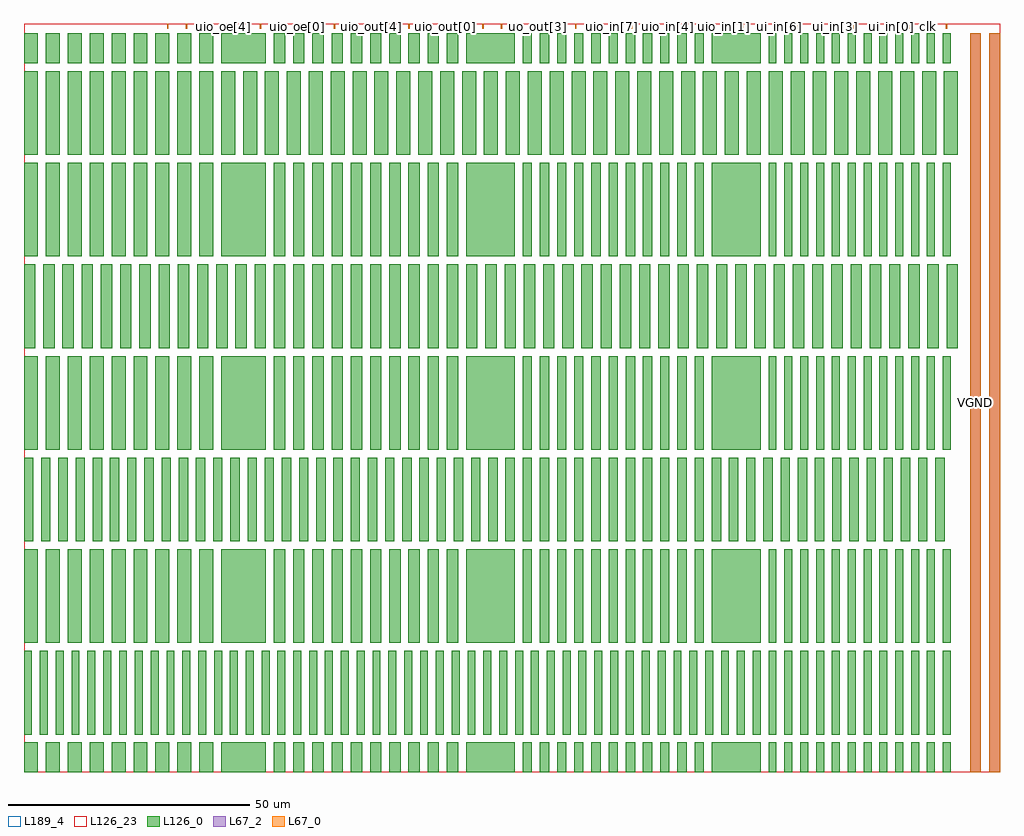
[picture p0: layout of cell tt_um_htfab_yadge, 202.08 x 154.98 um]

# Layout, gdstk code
import gdstk
lib = gdstk.Library(unit=1e-6, precision=1e-09)
def R(c, l, rs):  # rectangles x0, y0, x1, y1
    for r in rs: c.add(gdstk.rectangle(r[:2], r[2:], *l))
def A(c, l, x, y, w, h, nx, ny, dx, dy):  # array of equal rectangles
    R(c, l, [(x+i*dx, y+j*dy, x+i*dx+w, y+j*dy+h) for i in range(nx) for j in range(ny)])
L67_0 = (67, 0)
L67_2 = (67, 2)
L126_0 = (126, 0)
L126_23 = (126, 23)
L189_4 = (189, 4)

pattern_r0 = lib.new_cell('pattern_R0')
R(pattern_r0, L126_0, [(0,0,2.895,17.36)])

pattern_r1 = lib.new_cell('pattern_R1')
R(pattern_r1, L126_0, [(0,0,2.895,6.17)])

pattern_r2 = lib.new_cell('pattern_R2')
R(pattern_r2, L126_0, [(0,0,2.895,19.36)])

pattern_r3 = lib.new_cell('pattern_R3')
R(pattern_r3, L126_0, [(0,0,2.895,19.36)])

pattern_r4 = lib.new_cell('pattern_R4')
R(pattern_r4, L126_0, [(0,0,2.895,19.36)])

pattern_r5 = lib.new_cell('pattern_R5')
R(pattern_r5, L126_0, [(0,0,2.895,6.17)])

pattern_y0 = lib.new_cell('pattern_Y0')
R(pattern_y0, L126_0, [(0,0,2.34,17.36)])

pattern_y1 = lib.new_cell('pattern_Y1')
R(pattern_y1, L126_0, [(0,0,2.34,6.17)])

pattern_y2 = lib.new_cell('pattern_Y2')
R(pattern_y2, L126_0, [(0,0,2.34,19.36)])

pattern_y3 = lib.new_cell('pattern_Y3')
R(pattern_y3, L126_0, [(0,0,2.34,19.36)])

pattern_y4 = lib.new_cell('pattern_Y4')
R(pattern_y4, L126_0, [(0,0,2.34,19.36)])

pattern_y5 = lib.new_cell('pattern_Y5')
R(pattern_y5, L126_0, [(0,0,2.34,6.17)])

pattern_g0 = lib.new_cell('pattern_G0')
R(pattern_g0, L126_0, [(0,0,1.92,17.36)])

pattern_g1 = lib.new_cell('pattern_G1')
R(pattern_g1, L126_0, [(0,0,1.92,6.17)])

pattern_g2 = lib.new_cell('pattern_G2')
R(pattern_g2, L126_0, [(0,0,1.92,19.36)])

pattern_g3 = lib.new_cell('pattern_G3')
R(pattern_g3, L126_0, [(0,0,1.92,19.36)])

pattern_g4 = lib.new_cell('pattern_G4')
R(pattern_g4, L126_0, [(0,0,1.92,19.36)])

pattern_g5 = lib.new_cell('pattern_G5')
R(pattern_g5, L126_0, [(0,0,1.92,6.17)])

pattern_b0 = lib.new_cell('pattern_B0')
R(pattern_b0, L126_0, [(0,0,1.64,17.36)])

pattern_b1 = lib.new_cell('pattern_B1')
R(pattern_b1, L126_0, [(0,0,1.64,6.17)])

pattern_b2 = lib.new_cell('pattern_B2')
R(pattern_b2, L126_0, [(0,0,1.64,19.36)])

pattern_b3 = lib.new_cell('pattern_B3')
R(pattern_b3, L126_0, [(0,0,1.64,19.36)])

pattern_b4 = lib.new_cell('pattern_B4')
R(pattern_b4, L126_0, [(0,0,1.64,19.36)])

pattern_b5 = lib.new_cell('pattern_B5')
R(pattern_b5, L126_0, [(0,0,1.64,6.17)])

pattern_i0 = lib.new_cell('pattern_I0')
R(pattern_i0, L126_0, [(0,0,9.285,6.17)])

pattern_i1 = lib.new_cell('pattern_I1')
R(pattern_i1, L126_0, [(0,0,10.06,6.17)])

pattern_i2 = lib.new_cell('pattern_I2')
R(pattern_i2, L126_0, [(0,0,10.12,6.17)])

pattern_i3 = lib.new_cell('pattern_I3')
R(pattern_i3, L126_0, [(0,0,9.285,19.36)])

pattern_i4 = lib.new_cell('pattern_I4')
R(pattern_i4, L126_0, [(0,0,10.06,19.36)])

pattern_i5 = lib.new_cell('pattern_I5')
R(pattern_i5, L126_0, [(0,0,10.12,19.36)])

pattern_i6 = lib.new_cell('pattern_I6')
R(pattern_i6, L126_0, [(0,0,9.285,19.36)])

pattern_i7 = lib.new_cell('pattern_I7')
R(pattern_i7, L126_0, [(0,0,10.06,19.36)])

pattern_i8 = lib.new_cell('pattern_I8')
R(pattern_i8, L126_0, [(0,0,10.12,19.36)])

pattern_i9 = lib.new_cell('pattern_I9')
R(pattern_i9, L126_0, [(0,0,9.285,19.36)])

pattern_i10 = lib.new_cell('pattern_I10')
R(pattern_i10, L126_0, [(0,0,10.06,19.36)])

pattern_i11 = lib.new_cell('pattern_I11')
R(pattern_i11, L126_0, [(0,0,10.12,19.36)])

pattern_i12 = lib.new_cell('pattern_I12')
R(pattern_i12, L126_0, [(0,0,9.285,6.17)])

pattern_i13 = lib.new_cell('pattern_I13')
R(pattern_i13, L126_0, [(0,0,10.06,6.17)])

pattern_i14 = lib.new_cell('pattern_I14')
R(pattern_i14, L126_0, [(0,0,10.12,6.17)])

tt_um_htfab_yadge = lib.new_cell('tt_um_htfab_yadge')
A(tt_um_htfab_yadge, L67_0, 29.61, 153.98, 0.3, 1, 43, 1, 3.84, 0)
R(tt_um_htfab_yadge, L67_0, [(195.88,0,198.08,152.98), (199.88,0,202.08,152.98)])
A(tt_um_htfab_yadge, L67_2, 29.61, 153.98, 0.3, 1, 43, 1, 3.84, 0)
R(tt_um_htfab_yadge, L67_2, [(195.88,0,198.08,152.98), (199.88,0,202.08,152.98)])
R(tt_um_htfab_yadge, L126_23, [(0,0,202.08,154.98)])
R(tt_um_htfab_yadge, L189_4, [(0,0,202.08,154.98)])
r = gdstk.Reference(pattern_r0, (0,127.81)); r.repetition = gdstk.Repetition(43, 1, v1=(4.535,0), v2=(0,4.535)); tt_um_htfab_yadge.add(r)
r = gdstk.Reference(pattern_r1, (0,0)); r.repetition = gdstk.Repetition(9, 1, v1=(4.535,0), v2=(0,4.535)); tt_um_htfab_yadge.add(r)
r = gdstk.Reference(pattern_r2, (0,26.81)); r.repetition = gdstk.Repetition(9, 1, v1=(4.535,0), v2=(0,4.535)); tt_um_htfab_yadge.add(r)
r = gdstk.Reference(pattern_r3, (0,66.81)); r.repetition = gdstk.Repetition(9, 1, v1=(4.535,0), v2=(0,4.535)); tt_um_htfab_yadge.add(r)
r = gdstk.Reference(pattern_r4, (0,106.81)); r.repetition = gdstk.Repetition(9, 1, v1=(4.535,0), v2=(0,4.535)); tt_um_htfab_yadge.add(r)
r = gdstk.Reference(pattern_r5, (0,146.81)); r.repetition = gdstk.Repetition(9, 1, v1=(4.535,0), v2=(0,4.535)); tt_um_htfab_yadge.add(r)
r = gdstk.Reference(pattern_y0, (0,87.81)); r.repetition = gdstk.Repetition(49, 1, v1=(3.98,0), v2=(0,3.98)); tt_um_htfab_yadge.add(r)
r = gdstk.Reference(pattern_y1, (51.74,0)); r.repetition = gdstk.Repetition(10, 1, v1=(3.98,0), v2=(0,3.98)); tt_um_htfab_yadge.add(r)
r = gdstk.Reference(pattern_y2, (51.74,26.81)); r.repetition = gdstk.Repetition(10, 1, v1=(3.98,0), v2=(0,3.98)); tt_um_htfab_yadge.add(r)
r = gdstk.Reference(pattern_y3, (51.74,66.81)); r.repetition = gdstk.Repetition(10, 1, v1=(3.98,0), v2=(0,3.98)); tt_um_htfab_yadge.add(r)
r = gdstk.Reference(pattern_y4, (51.74,106.81)); r.repetition = gdstk.Repetition(10, 1, v1=(3.98,0), v2=(0,3.98)); tt_um_htfab_yadge.add(r)
r = gdstk.Reference(pattern_y5, (51.74,146.81)); r.repetition = gdstk.Repetition(10, 1, v1=(3.98,0), v2=(0,3.98)); tt_um_htfab_yadge.add(r)
r = gdstk.Reference(pattern_g0, (0,47.81)); r.repetition = gdstk.Repetition(54, 1, v1=(3.56,0), v2=(0,3.56)); tt_um_htfab_yadge.add(r)
r = gdstk.Reference(pattern_g1, (103.24,0)); r.repetition = gdstk.Repetition(11, 1, v1=(3.56,0), v2=(0,3.56)); tt_um_htfab_yadge.add(r)
r = gdstk.Reference(pattern_g2, (103.24,26.81)); r.repetition = gdstk.Repetition(11, 1, v1=(3.56,0), v2=(0,3.56)); tt_um_htfab_yadge.add(r)
r = gdstk.Reference(pattern_g3, (103.24,66.81)); r.repetition = gdstk.Repetition(11, 1, v1=(3.56,0), v2=(0,3.56)); tt_um_htfab_yadge.add(r)
r = gdstk.Reference(pattern_g4, (103.24,106.81)); r.repetition = gdstk.Repetition(11, 1, v1=(3.56,0), v2=(0,3.56)); tt_um_htfab_yadge.add(r)
r = gdstk.Reference(pattern_g5, (103.24,146.81)); r.repetition = gdstk.Repetition(11, 1, v1=(3.56,0), v2=(0,3.56)); tt_um_htfab_yadge.add(r)
r = gdstk.Reference(pattern_b0, (0,7.81)); r.repetition = gdstk.Repetition(59, 1, v1=(3.28,0), v2=(0,3.28)); tt_um_htfab_yadge.add(r)
r = gdstk.Reference(pattern_b1, (154.16,0)); r.repetition = gdstk.Repetition(12, 1, v1=(3.28,0), v2=(0,3.28)); tt_um_htfab_yadge.add(r)
r = gdstk.Reference(pattern_b2, (154.16,26.81)); r.repetition = gdstk.Repetition(12, 1, v1=(3.28,0), v2=(0,3.28)); tt_um_htfab_yadge.add(r)
r = gdstk.Reference(pattern_b3, (154.16,66.81)); r.repetition = gdstk.Repetition(12, 1, v1=(3.28,0), v2=(0,3.28)); tt_um_htfab_yadge.add(r)
r = gdstk.Reference(pattern_b4, (154.16,106.81)); r.repetition = gdstk.Repetition(12, 1, v1=(3.28,0), v2=(0,3.28)); tt_um_htfab_yadge.add(r)
r = gdstk.Reference(pattern_b5, (154.16,146.81)); r.repetition = gdstk.Repetition(12, 1, v1=(3.28,0), v2=(0,3.28)); tt_um_htfab_yadge.add(r)
r = gdstk.Reference(pattern_i0, (40.815,0)); r.repetition = gdstk.Repetition(1, 1, v1=(5.305,0), v2=(0,5.305)); tt_um_htfab_yadge.add(r)
r = gdstk.Reference(pattern_i1, (91.54,0)); r.repetition = gdstk.Repetition(1, 1, v1=(5.305,0), v2=(0,5.305)); tt_um_htfab_yadge.add(r)
r = gdstk.Reference(pattern_i2, (142.4,0)); r.repetition = gdstk.Repetition(1, 1, v1=(5.305,0), v2=(0,5.305)); tt_um_htfab_yadge.add(r)
r = gdstk.Reference(pattern_i3, (40.815,26.81)); r.repetition = gdstk.Repetition(1, 1, v1=(5.305,0), v2=(0,5.305)); tt_um_htfab_yadge.add(r)
r = gdstk.Reference(pattern_i4, (91.54,26.81)); r.repetition = gdstk.Repetition(1, 1, v1=(5.305,0), v2=(0,5.305)); tt_um_htfab_yadge.add(r)
r = gdstk.Reference(pattern_i5, (142.4,26.81)); r.repetition = gdstk.Repetition(1, 1, v1=(5.305,0), v2=(0,5.305)); tt_um_htfab_yadge.add(r)
r = gdstk.Reference(pattern_i6, (40.815,66.81)); r.repetition = gdstk.Repetition(1, 1, v1=(5.305,0), v2=(0,5.305)); tt_um_htfab_yadge.add(r)
r = gdstk.Reference(pattern_i7, (91.54,66.81)); r.repetition = gdstk.Repetition(1, 1, v1=(5.305,0), v2=(0,5.305)); tt_um_htfab_yadge.add(r)
r = gdstk.Reference(pattern_i8, (142.4,66.81)); r.repetition = gdstk.Repetition(1, 1, v1=(5.305,0), v2=(0,5.305)); tt_um_htfab_yadge.add(r)
r = gdstk.Reference(pattern_i9, (40.815,106.81)); r.repetition = gdstk.Repetition(1, 1, v1=(5.305,0), v2=(0,5.305)); tt_um_htfab_yadge.add(r)
r = gdstk.Reference(pattern_i10, (91.54,106.81)); r.repetition = gdstk.Repetition(1, 1, v1=(5.305,0), v2=(0,5.305)); tt_um_htfab_yadge.add(r)
r = gdstk.Reference(pattern_i11, (142.4,106.81)); r.repetition = gdstk.Repetition(1, 1, v1=(5.305,0), v2=(0,5.305)); tt_um_htfab_yadge.add(r)
r = gdstk.Reference(pattern_i12, (40.815,146.81)); r.repetition = gdstk.Repetition(1, 1, v1=(5.305,0), v2=(0,5.305)); tt_um_htfab_yadge.add(r)
r = gdstk.Reference(pattern_i13, (91.54,146.81)); r.repetition = gdstk.Repetition(1, 1, v1=(5.305,0), v2=(0,5.305)); tt_um_htfab_yadge.add(r)
r = gdstk.Reference(pattern_i14, (142.4,146.81)); r.repetition = gdstk.Repetition(1, 1, v1=(5.305,0), v2=(0,5.305)); tt_um_htfab_yadge.add(r)
tt_um_htfab_yadge.add(gdstk.Label('VGND', (196.98,76.49), layer=67, texttype=25))
tt_um_htfab_yadge.add(gdstk.Label('VPWR', (200.98,76.49), layer=67, texttype=25))
tt_um_htfab_yadge.add(gdstk.Label('clk', (187.2,154.48), layer=67, texttype=25))
tt_um_htfab_yadge.add(gdstk.Label('ena', (191.04,154.48), layer=67, texttype=25))
tt_um_htfab_yadge.add(gdstk.Label('rst_n', (183.36,154.48), layer=67, texttype=25))
tt_um_htfab_yadge.add(gdstk.Label('ui_in[0]', (179.52,154.48), layer=67, texttype=25))
tt_um_htfab_yadge.add(gdstk.Label('ui_in[1]', (175.68,154.48), layer=67, texttype=25))
tt_um_htfab_yadge.add(gdstk.Label('ui_in[2]', (171.84,154.48), layer=67, texttype=25))
tt_um_htfab_yadge.add(gdstk.Label('ui_in[3]', (168,154.48), layer=67, texttype=25))
tt_um_htfab_yadge.add(gdstk.Label('ui_in[4]', (164.16,154.48), layer=67, texttype=25))
tt_um_htfab_yadge.add(gdstk.Label('ui_in[5]', (160.32,154.48), layer=67, texttype=25))
tt_um_htfab_yadge.add(gdstk.Label('ui_in[6]', (156.48,154.48), layer=67, texttype=25))
tt_um_htfab_yadge.add(gdstk.Label('ui_in[7]', (152.64,154.48), layer=67, texttype=25))
tt_um_htfab_yadge.add(gdstk.Label('uio_in[0]', (148.8,154.48), layer=67, texttype=25))
tt_um_htfab_yadge.add(gdstk.Label('uio_in[1]', (144.96,154.48), layer=67, texttype=25))
tt_um_htfab_yadge.add(gdstk.Label('uio_in[2]', (141.12,154.48), layer=67, texttype=25))
tt_um_htfab_yadge.add(gdstk.Label('uio_in[3]', (137.28,154.48), layer=67, texttype=25))
tt_um_htfab_yadge.add(gdstk.Label('uio_in[4]', (133.44,154.48), layer=67, texttype=25))
tt_um_htfab_yadge.add(gdstk.Label('uio_in[5]', (129.6,154.48), layer=67, texttype=25))
tt_um_htfab_yadge.add(gdstk.Label('uio_in[6]', (125.76,154.48), layer=67, texttype=25))
tt_um_htfab_yadge.add(gdstk.Label('uio_in[7]', (121.92,154.48), layer=67, texttype=25))
tt_um_htfab_yadge.add(gdstk.Label('uio_oe[0]', (56.64,154.48), layer=67, texttype=25))
tt_um_htfab_yadge.add(gdstk.Label('uio_oe[1]', (52.8,154.48), layer=67, texttype=25))
tt_um_htfab_yadge.add(gdstk.Label('uio_oe[2]', (48.96,154.48), layer=67, texttype=25))
tt_um_htfab_yadge.add(gdstk.Label('uio_oe[3]', (45.12,154.48), layer=67, texttype=25))
tt_um_htfab_yadge.add(gdstk.Label('uio_oe[4]', (41.28,154.48), layer=67, texttype=25))
tt_um_htfab_yadge.add(gdstk.Label('uio_oe[5]', (37.44,154.48), layer=67, texttype=25))
tt_um_htfab_yadge.add(gdstk.Label('uio_oe[6]', (33.6,154.48), layer=67, texttype=25))
tt_um_htfab_yadge.add(gdstk.Label('uio_oe[7]', (29.76,154.48), layer=67, texttype=25))
tt_um_htfab_yadge.add(gdstk.Label('uio_out[0]', (87.36,154.48), layer=67, texttype=25))
tt_um_htfab_yadge.add(gdstk.Label('uio_out[1]', (83.52,154.48), layer=67, texttype=25))
tt_um_htfab_yadge.add(gdstk.Label('uio_out[2]', (79.68,154.48), layer=67, texttype=25))
tt_um_htfab_yadge.add(gdstk.Label('uio_out[3]', (75.84,154.48), layer=67, texttype=25))
tt_um_htfab_yadge.add(gdstk.Label('uio_out[4]', (72,154.48), layer=67, texttype=25))
tt_um_htfab_yadge.add(gdstk.Label('uio_out[5]', (68.16,154.48), layer=67, texttype=25))
tt_um_htfab_yadge.add(gdstk.Label('uio_out[6]', (64.32,154.48), layer=67, texttype=25))
tt_um_htfab_yadge.add(gdstk.Label('uio_out[7]', (60.48,154.48), layer=67, texttype=25))
tt_um_htfab_yadge.add(gdstk.Label('uo_out[0]', (118.08,154.48), layer=67, texttype=25))
tt_um_htfab_yadge.add(gdstk.Label('uo_out[1]', (114.24,154.48), layer=67, texttype=25))
tt_um_htfab_yadge.add(gdstk.Label('uo_out[2]', (110.4,154.48), layer=67, texttype=25))
tt_um_htfab_yadge.add(gdstk.Label('uo_out[3]', (106.56,154.48), layer=67, texttype=25))
tt_um_htfab_yadge.add(gdstk.Label('uo_out[4]', (102.72,154.48), layer=67, texttype=25))
tt_um_htfab_yadge.add(gdstk.Label('uo_out[5]', (98.88,154.48), layer=67, texttype=25))
tt_um_htfab_yadge.add(gdstk.Label('uo_out[6]', (95.04,154.48), layer=67, texttype=25))
tt_um_htfab_yadge.add(gdstk.Label('uo_out[7]', (91.2,154.48), layer=67, texttype=25))

lib.write_gds('tt_um_htfab_yadge.gds')
